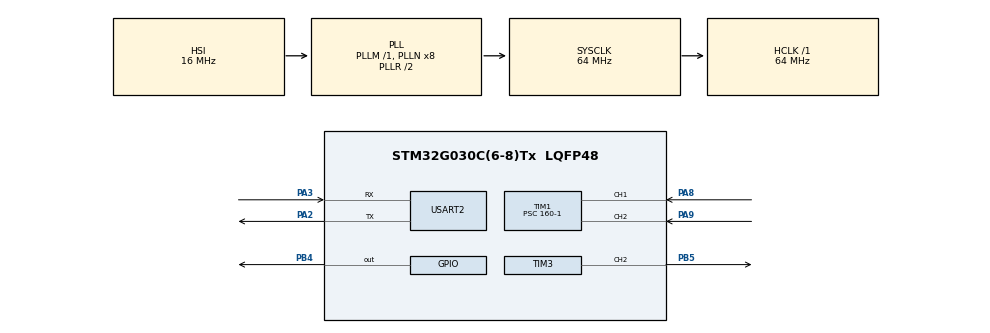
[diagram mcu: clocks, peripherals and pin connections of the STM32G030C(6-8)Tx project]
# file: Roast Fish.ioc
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Mcu.Family=STM32G0
Mcu.Name=STM32G030C(6-8)Tx
Mcu.Package=LQFP48
NVIC.TIM14_IRQn=true\:0\:0\:false\:false\:true\:true\:false
NVIC.TIM16_IRQn=true\:0\:0\:false\:false\:true\:true\:false
NVIC.TIM17_IRQn=true\:1\:0\:true\:false\:true\:true\:false
NVIC.TIM1_CC_IRQn=true\:0\:0\:false\:false\:true\:true\:false
PA13.Mode=Serial_Wire
PA13.Signal=SYS_SWDIO
PA14-BOOT0.Mode=Serial_Wire
PA14-BOOT0.Signal=SYS_SWCLK
PA2.Mode=Asynchronous
PA2.Signal=USART2_TX
PA3.Mode=Asynchronous
PA3.Signal=USART2_RX
PA8.Signal=S_TIM1_CH1
PA9.GPIO_PuPd=GPIO_PULLUP
PA9.Signal=S_TIM1_CH2
PB4.Signal=GPIO_Output
PB5.Signal=S_TIM3_CH2
PF0-OSC_IN\ (PF0).Mode=HSE-External-Oscillator
PF0-OSC_IN\ (PF0).Signal=RCC_OSC_IN
PF1-OSC_OUT\ (PF1).Mode=HSE-External-Oscillator
PF1-OSC_OUT\ (PF1).Signal=RCC_OSC_OUT
ProjectManager.HeapSize=0x200
ProjectManager.StackSize=0x400
ProjectManager.TargetToolchain=MDK-ARM V5.27
RCC.ADCFreq_Value=64000000
RCC.AHBFreq_Value=64000000
RCC.CortexFreq_Value=64000000
RCC.EXTERNAL_CLOCK_VALUE=12288000
RCC.HCLKFreq_Value=64000000
RCC.HSE_VALUE=8000000
RCC.HSI_VALUE=16000000
RCC.LSE_VALUE=32768
RCC.SYSCLKFreq_VALUE=64000000
RCC.SYSCLKSource=RCC_SYSCLKSOURCE_PLLCLK
RCC.VCOOutputFreq_Value=128000000
RTC.Alarm-Alarm\ A=RTC_ALARM_A
RTC.Format=RTC_FORMAT_BIN
RTC.Hours=12
SH.S_TIM1_CH1.0=TIM1_CH1,Input_Capture1_from_TI1
SH.S_TIM1_CH2.0=TIM1_CH2,Input_Capture2_from_TI2
SH.S_TIM3_CH2.0=TIM3_CH2,PWM Generation2 CH2
TIM1.Channel-Input_Capture1_from_TI1=TIM_CHANNEL_1
TIM1.Channel-Input_Capture2_from_TI2=TIM_CHANNEL_2
TIM1.ICFilter_CH1=4
TIM1.ICFilter_CH2=4
TIM1.Prescaler=160-1
TIM14.Channel=TIM_CHANNEL_1
TIM14.Period=64000-1
TIM14.Prescaler=10-1
TIM16.Period=10000-1
TIM16.Prescaler=64-1
TIM17.Period=1000-1
TIM17.Prescaler=64-1
TIM3.Channel-PWM\ Generation2\ CH2=TIM_CHANNEL_2
TIM3.OCPolarity_2=TIM_OCPOLARITY_LOW
TIM3.Period=640-100
TIM3.Prescaler=1-1
TIM3.Pulse-PWM\ Generation2\ CH2=1
TIM3.TIM_MasterOutputTrigger=TIM_TRGO_RESET
USART2.VirtualMode-Asynchronous=VM_ASYNC
VP_CRC_VS_CRC.Mode=CRC_Activate
VP_RTC_VS_RTC_Activate.Mode=RTC_Enabled
VP_RTC_VS_RTC_Alarm_A_Intern.Mode=Alarm A
VP_RTC_VS_RTC_Calendar.Mode=RTC_Calendar
VP_TIM14_VS_ClockSourceINT.Mode=Enable_Timer
VP_TIM14_VS_no_output1.Mode=PWM Generation1 No Output
VP_TIM16_VS_ClockSourceINT.Mode=Enable_Timer
VP_TIM17_VS_ClockSourceINT.Mode=Enable_Timer
VP_TIM1_VS_ClockSourceINT.Mode=Internal
VP_TIM3_VS_ClockSourceINT.Mode=Internal
VP_TIM3_VS_OPM.Mode=OPM_bit
board=custom

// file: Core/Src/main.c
/* USER CODE BEGIN Header */
/**
 ******************************************************************************
 * @file           : main.c
 * @brief          : Main program body
 ******************************************************************************
 * @attention
 *
 * <h2><center>&copy; Copyright (c) 2022 STMicroelectronics.
 * All rights reserved.</center></h2>
 *
 * This software component is licensed by ST under BSD 3-Clause license,
 * the "License"; You may not use this file except in compliance with the
 * License. You may obtain a copy of the License at:
 *                        opensource.org/licenses/BSD-3-Clause
 *
 ******************************************************************************
 */
/* USER CODE END Header */
#include "main.h"
#include "crc.h"
#include "rtc.h"
#include "tim.h"
#include "usart.h"
#include "gpio.h"

/* USER CODE BEGIN Includes */
#include "Sys.h"
#include "UI.h"
#include "Key.h"
#include "Keydef.h"
#include "Counter.h"
#include <stdio.h>
#include "TimeSetting.h"
#include "LED.h"
#include "Optocoupler.h"
#include "Relay.h"
#include "RTCLib.h"
/* USER CODE END Includes */

void SystemClock_Config(void);
/* USER CODE BEGIN PFP */
//当前UI的设计模式一部分是UI更新值到设备，另�??部分是不断更新sysState的�?�到UI设备
/* USER CODE END PFP */

/* USER CODE BEGIN 0 */
void User_KeyInit()
{
  // only one key examle,read pin pullup,and key com pin connect to GND
  KeyPin_t keyinpins[4] = {{GPIOA, GPIO_PIN_0}, {GPIOA, GPIO_PIN_1}, {GPIOA, GPIO_PIN_2}, {GPIOA, GPIO_PIN_3}};
  KeyPin_t keysetpins[4] = {{GPIOA, GPIO_PIN_4}, {GPIOA, GPIO_PIN_5}, {GPIOA, GPIO_PIN_6}, {GPIOA, GPIO_PIN_7}};
  KeyInit(4, 4, keyinpins, keysetpins);
};

Counter key_calitime_cnt = {.count_max = 2, .count_min = 0, .count = 0, .step = 1};
Counter key_mode_cnt = {.count_max = 2, .count_min = 0, .count = 0, .step = 1};

Counter key_fodder_cnt = {.count_max = MAX_FODDER, .count_min = MIN_FODDER, .count = 1, .step = 1};
Counter key_interval_cnt = {.count_max = MAX_INTERVAL, .count_min = MIN_INTERVAL, .count = 1, .step = 1};
Counter key_output_cnt = {.count_max = MAX_OUTPOUT, .count_min = MIN_OUTPOUT, .count = 1, .step = 1};
Counter key_area_cnt = {.count_max = MAX_AREA, .count_min = MIN_AREA, .count = 1, .step = 1};

Counter key_run_time_set_cnt = {.count_max = 120, .count_min = 5, .count = 5, .step = 5};

Counter key_period_cnt = {.count_max = 8 * 2, .count_min = 0, .count = 0, .step = 1};
Counter set_rtc_cnt = {.count_max = 400, .count_min = 0, .count = 0, .step = 1};

Counter vibrator_interval_time_cnt = {0};
Counter vibrator_running_time_cnt = {0};

void onKeyMinuteDown()
{
  sysState.runState = SYS_STOP;
  if (sysState.mode == MOD_TIMING)
  {
    Counter_increment_circle(&key_run_time_set_cnt);
    sysState.run_time_set_value = CounterGET(&key_run_time_set_cnt);
  }
  else
  {
    switch (timeSettingMode)
    {
    case SET_INVALID:
      break;
    case SET_RTC_TIME:
      RTC_Time_Minute_Increament(&stimestructureget);
      Counter_reset(&set_rtc_cnt);
      Lcd_Clock_Show(stimestructureget.Hours, stimestructureget.Minutes);
      if (HAL_RTC_SetTime(&hrtc, &stimestructureget, RTC_DATA_FORMAT) != HAL_OK)
      {
        Error_Handler();
      }
      break;
    case SET_PERIOD_START:
    {
      SysPeriodNode *pSysNode = &sysState.period[CounterGET(&key_period_cnt) / 2 + CounterGET(&key_period_cnt) % 2 - 1];
      RTC_Time_Minute_Increament(&pSysNode->start);
      if (!pSysNode->isOpen)
      {
        pSysNode->isOpen = true;
      }
      globalSettingTimeObj = pSysNode->start;
      Lcd_Clock_Show(globalSettingTimeObj.Hours, globalSettingTimeObj.Minutes);
      UI_SendMessage(SET_CLOCK_SHOW_GLOBAL_SETTING_TIME, NULL);
    }
    break;
    case SET_PERIOD_END:
    {
      SysPeriodNode *pSysNode = &sysState.period[CounterGET(&key_period_cnt) / 2 + CounterGET(&key_period_cnt) % 2 - 1];
      if (!pSysNode->isOpen)
      {
        pSysNode->isOpen = true;
      }
      RTC_Time_Minute_Increament(&pSysNode->end);
      globalSettingTimeObj = pSysNode->end;
      Lcd_Clock_Show(globalSettingTimeObj.Hours, globalSettingTimeObj.Minutes);
      UI_SendMessage(SET_CLOCK_SHOW_GLOBAL_SETTING_TIME, NULL);
    }
    break;

    default:
      break;
    }
  }
}

void onKeyHourDown()
{
  sysState.runState = SYS_STOP;

  switch (timeSettingMode)
  {
  case SET_INVALID:
    break;
  case SET_RTC_TIME:
    RTC_Time_Hour_Increament(&stimestructureget);
    Counter_reset(&set_rtc_cnt);
    Lcd_Clock_Show(stimestructureget.Hours, stimestructureget.Minutes);
    if (HAL_RTC_SetTime(&hrtc, &stimestructureget, RTC_DATA_FORMAT) != HAL_OK)
    {
      Error_Handler();
    }
    break;
  case SET_PERIOD_START:
  {
    SysPeriodNode *pSysNode = &sysState.period[CounterGET(&key_period_cnt) / 2 + CounterGET(&key_period_cnt) % 2 - 1];
    RTC_Time_Hour_Increament(&pSysNode->start);
    if (!pSysNode->isOpen)
    {
      pSysNode->isOpen = true;
    }
    globalSettingTimeObj = pSysNode->start;
    Lcd_Clock_Show(globalSettingTimeObj.Hours, globalSettingTimeObj.Minutes);
    UI_SendMessage(SET_CLOCK_SHOW_GLOBAL_SETTING_TIME, NULL);
  }
  break;
  case SET_PERIOD_END:
  {
    SysPeriodNode *pSysNode = &sysState.period[CounterGET(&key_period_cnt) / 2 + CounterGET(&key_period_cnt) % 2 - 1];
    if (!pSysNode->isOpen)
    {
      pSysNode->isOpen = true;
    }
    RTC_Time_Hour_Increament(&pSysNode->end);
    globalSettingTimeObj = pSysNode->end;
    Lcd_Clock_Show(globalSettingTimeObj.Hours, globalSettingTimeObj.Minutes);
    UI_SendMessage(SET_CLOCK_SHOW_GLOBAL_SETTING_TIME, NULL);
  }
  break;

  default:
    break;
  }
}

void KeyDriver()
{
  static KeyState_t key = KEY_NONE;

  if (!isKeyFIFOEmpty())
  {
    key = Key_FIFO_Get();

    switch (key)
    {

    case KEY_FODDDER_P_Down:
      Counter_increment(&key_fodder_cnt);
      sysState.fodder_num = CounterGET(&key_fodder_cnt);
      Counter_init(&vibrator_running_time_cnt, GET_FODDER_TIME(sysState.fodder_num),0, 1);
      break;
    case KEY_FODDDER_P_LongPress:
      Counter_increment(&key_fodder_cnt);
      sysState.fodder_num = CounterGET(&key_fodder_cnt);
     Counter_init(&vibrator_running_time_cnt, GET_FODDER_TIME(sysState.fodder_num),0, 1);
      break;
    case KEY_FODDDER_N_Down:
      Counter_decrement(&key_fodder_cnt);
      sysState.fodder_num = CounterGET(&key_fodder_cnt);
      Counter_init(&vibrator_running_time_cnt, GET_FODDER_TIME(sysState.fodder_num),0, 1);
      break;
    case KEY_FODDDER_N_LongPress:
      Counter_decrement(&key_fodder_cnt);
      sysState.fodder_num = CounterGET(&key_fodder_cnt);
      Counter_init(&vibrator_running_time_cnt, GET_FODDER_TIME(sysState.fodder_num),0, 1);
      break;
    case KEY_INTERVAL_P_Down:
      Counter_increment(&key_interval_cnt);
      sysState.interval_num = CounterGET(&key_interval_cnt);
      Counter_init(&vibrator_interval_time_cnt, GET_FODDER_TIME(sysState.interval_num),0, 1);
      break;
    case KEY_INTERVAL_P_LongPress:
      Counter_increment(&key_interval_cnt);
      sysState.interval_num = CounterGET(&key_interval_cnt);
      Counter_init(&vibrator_interval_time_cnt, GET_FODDER_TIME(sysState.interval_num),0, 1);
      break;
    case KEY_INTERVAL_N_Down:
      Counter_decrement(&key_interval_cnt);
      sysState.interval_num = CounterGET(&key_interval_cnt);
      Counter_init(&vibrator_interval_time_cnt, GET_FODDER_TIME(sysState.interval_num),0, 1);
      break;
    case KEY_INTERVAL_N_LongPress:
      Counter_decrement(&key_interval_cnt);
      sysState.interval_num = CounterGET(&key_interval_cnt);
      Counter_init(&vibrator_interval_time_cnt, GET_FODDER_TIME(sysState.interval_num),0, 1);
      break;
    case KEY_OUTPUT_P_Down:
      Counter_increment(&key_output_cnt);
      sysState.output_num = CounterGET(&key_output_cnt);
      break;
    case KEY_OUTPUT_P_LongPress:
      Counter_increment(&key_output_cnt);
      sysState.output_num = CounterGET(&key_output_cnt);
      break;
    case KEY_OUTPUT_N_Down:
      Counter_decrement(&key_output_cnt);
      sysState.output_num = CounterGET(&key_output_cnt);
      break;
    case KEY_OUTPUT_N_LongPress:
      Counter_decrement(&key_output_cnt);
      sysState.output_num = CounterGET(&key_output_cnt);
      break;
    case KEY_AREA_P_Down:
      Counter_increment(&key_area_cnt);
      sysState.area_num = CounterGET(&key_area_cnt);
      break;
    case KEY_AREA_P_LongPress:
      Counter_increment(&key_area_cnt);
      sysState.area_num = CounterGET(&key_area_cnt);
      break;
    case KEY_AREA_N_Down:
      Counter_decrement(&key_area_cnt);
      sysState.area_num = CounterGET(&key_area_cnt);
      break;
    case KEY_AREA_N_LongPress:
      Counter_decrement(&key_area_cnt);
      sysState.area_num = CounterGET(&key_area_cnt);
      break;

    case KEY_OFF_Down:
      sysState.runState = SYS_STOP;
      break;
    case KEY_ON_Down:
      sysState.runState = SYS_RUN;
      sysState.run_time = sysState.run_time_set_value;
      break;
    case KEY_MODE_Down:
      Counter_increment_circle(&key_mode_cnt);
      sysState.mode = CounterGET(&key_mode_cnt);
      sysState.runState = SYS_STOP;
      __TDOT_TEXT_Off(); // Elimination of residual display
      Counter_reset(&key_period_cnt);
      timeSettingMode = SET_INVALID;
      break;

    case KEY_MINUTE_Down:
      onKeyMinuteDown();

      break;
    case KEY_MINUTE_LongPress:
      onKeyMinuteDown();
      break;
    case KEY_HOUR_Down:
      onKeyHourDown();
      break;
    case KEY_HOUR_LongPress:
      onKeyHourDown();
      break;

    case KEY_PERIOD_Down:
      sysState.runState = SYS_STOP;
      if (sysState.mode == MOD_NORMAL_AOTO)
      {
        Counter_increment_circle(&key_period_cnt);
        if (CounterGET(&key_period_cnt) == 0)
        {
          UI_SendMessage(SET_CLOCK_NORMAL_SHOW, NULL);
          break;
        }
        SysPeriodNode *pSysNode = &sysState.period[CounterGET(&key_period_cnt) / 2 + CounterGET(&key_period_cnt) % 2 - 1];

        if (IS_ODD(CounterGET(&key_period_cnt)))
        {
          __CLOSE_TEXT_Off(); // Elimination of residual display
          __OPEN_TEXT_On();   // Elimination of residual display
          // 1,2->0
          // 3,4->1
          timeSettingMode = SET_PERIOD_START;
          if (pSysNode->isOpen)
          {
            globalSettingTimeObj = pSysNode->start;
            UI_SendMessage(SET_CLOCK_SHOW_GLOBAL_SETTING_TIME, NULL);
          }
          else
          {
            UI_SendMessage(SET_CLOCK_SHOW_NONE, NULL);
          }
        }
        else
        {
          __OPEN_TEXT_Off(); // Elimination of residual display
          __CLOSE_TEXT_On(); // Elimination of residual display

          // 1,2->0
          // 3,4->1
          timeSettingMode = SET_PERIOD_END;
          if (pSysNode->isOpen)
          {
            globalSettingTimeObj = pSysNode->end;
            UI_SendMessage(SET_CLOCK_SHOW_GLOBAL_SETTING_TIME, NULL);
          }
          else
          {
            UI_SendMessage(SET_CLOCK_SHOW_NONE, NULL);
          }
        }
      }

      break;

    case KEY_CaliTime_Down:
      if (sysState.mode == MOD_NORMAL_OPEN)
      {
        timeSettingMode = SET_RTC_TIME;
      }
      break;
    case KEY_CANCEL_Down:
      if (sysState.mode == MOD_TIMING)
      {
        Counter_increment_circle(&key_run_time_set_cnt);
        sysState.run_time_set_value = CounterGET(&key_run_time_set_cnt);
      }
      else if (sysState.mode == MOD_NORMAL_AOTO)
      {
        switch (timeSettingMode)
        {
        case SET_INVALID:
          break;
        case SET_RTC_TIME:
          break;
        case SET_PERIOD_START:
        {
          SysPeriodNode *pSysNode = &sysState.period[CounterGET(&key_period_cnt) / 2 + CounterGET(&key_period_cnt) % 2 - 1];
          RTC_Time_Minute_Increament(&pSysNode->start);
          pSysNode->isOpen = false;
          RTC_Time_ResetHMS(&pSysNode->start);
          UI_SendMessage(SET_CLOCK_SHOW_NONE, NULL);
        }
        break;
        case SET_PERIOD_END:
        {
          SysPeriodNode *pSysNode = &sysState.period[CounterGET(&key_period_cnt) / 2 + CounterGET(&key_period_cnt) % 2 - 1];
          RTC_Time_Minute_Increament(&pSysNode->start);
          pSysNode->isOpen = false;
          RTC_Time_ResetHMS(&pSysNode->end);
          UI_SendMessage(SET_CLOCK_SHOW_NONE, NULL);
        }
        break;

        default:
          break;
        }
      }
      break;

    default:
      break;
    }
  }
}

void Update_SyaState_2_Counter(){
Counter_set_cnt(&key_fodder_cnt,sysState.fodder_num);
Counter_set_cnt(&key_interval_cnt,sysState.interval_num);
Counter_set_cnt(&key_output_cnt,sysState.output_num);
Counter_set_cnt(&key_area_cnt,sysState.area_num);
Counter_init(&vibrator_interval_time_cnt, GET_FODDER_TIME(sysState.fodder_num),0, 1);
Counter_init(&vibrator_running_time_cnt, GET_FODDER_TIME(sysState.fodder_num),0, 1);
}

void oneMilliSecCallback()
{
  KeyScan();
  Sys_Running_Scan();
  UI_Scan();
  KeyDriver();
}
/* USER CODE END 0 */

int main(void)

{

  /* MCU Configuration--------------------------------------------------------*/

  /* Reset of all peripherals, Initializes the Flash interface and the Systick. */
  HAL_Init();

  /* Configure the system clock */
  SystemClock_Config();

  /* Initialize all configured peripherals */
  MX_GPIO_Init();
  MX_RTC_Init();
  MX_TIM1_Init();
  MX_TIM3_Init();
  MX_USART2_UART_Init();
  MX_TIM14_Init();
  MX_TIM16_Init();
  MX_TIM17_Init();
  MX_CRC_Init();
  /* USER CODE BEGIN 2 */
  reloadSysStateFromFlash();
  Update_SyaState_2_Counter();
  LED_Init();
  Relay_Init();
  RELAY_ON();
  Optocoupler_Init();
  UI_Init();
  User_KeyInit();
  UserPIDInit();
  HAL_TIM_IC_Start_IT(&htim1, TIM_CHANNEL_1);
  HAL_TIM_IC_Start_IT(&htim1, TIM_CHANNEL_2);
  HAL_TIM_PWM_Stop_IT(&htim14, TIM_CHANNEL_1);

	HAL_TIM_Base_Start_IT(&htim17);
	HAL_TIM_Base_Start_IT(&htim16);
  //HAL_TIM_Base_Start_IT(&htim17);
  /* USER CODE END 2 */

  /* Infinite loop */
  while (1)
  {

    /* USER CODE BEGIN 3 */

    HAL_Delay(0);
  }
  /* USER CODE END 3 */
}

void SystemClock_Config(void)
{
  RCC_OscInitTypeDef RCC_OscInitStruct = {0};
  RCC_ClkInitTypeDef RCC_ClkInitStruct = {0};
  RCC_PeriphCLKInitTypeDef PeriphClkInit = {0};

  /** Configure the main internal regulator output voltage
  */
  HAL_PWREx_ControlVoltageScaling(PWR_REGULATOR_VOLTAGE_SCALE1);
  /** Initializes the RCC Oscillators according to the specified parameters
  * in the RCC_OscInitTypeDef structure.
  */
  RCC_OscInitStruct.OscillatorType = RCC_OSCILLATORTYPE_HSI|RCC_OSCILLATORTYPE_LSI;
  RCC_OscInitStruct.HSIState = RCC_HSI_ON;
  RCC_OscInitStruct.HSIDiv = RCC_HSI_DIV1;
  RCC_OscInitStruct.HSICalibrationValue = RCC_HSICALIBRATION_DEFAULT;
  RCC_OscInitStruct.LSIState = RCC_LSI_ON;
  RCC_OscInitStruct.PLL.PLLState = RCC_PLL_ON;
  RCC_OscInitStruct.PLL.PLLSource = RCC_PLLSOURCE_HSI;
  RCC_OscInitStruct.PLL.PLLM = RCC_PLLM_DIV1;
  RCC_OscInitStruct.PLL.PLLN = 8;
  RCC_OscInitStruct.PLL.PLLP = RCC_PLLP_DIV2;
  RCC_OscInitStruct.PLL.PLLR = RCC_PLLR_DIV2;
  if (HAL_RCC_OscConfig(&RCC_OscInitStruct) != HAL_OK)
  {
    Error_Handler();
  }
  /** Initializes the CPU, AHB and APB buses clocks
  */
  RCC_ClkInitStruct.ClockType = RCC_CLOCKTYPE_HCLK|RCC_CLOCKTYPE_SYSCLK
                              |RCC_CLOCKTYPE_PCLK1;
  RCC_ClkInitStruct.SYSCLKSource = RCC_SYSCLKSOURCE_PLLCLK;
  RCC_ClkInitStruct.AHBCLKDivider = RCC_SYSCLK_DIV1;
  RCC_ClkInitStruct.APB1CLKDivider = RCC_HCLK_DIV1;

  if (HAL_RCC_ClockConfig(&RCC_ClkInitStruct, FLASH_LATENCY_2) != HAL_OK)
  {
    Error_Handler();
  }
  /** Initializes the peripherals clocks
  */
  PeriphClkInit.PeriphClockSelection = RCC_PERIPHCLK_RTC;
  PeriphClkInit.RTCClockSelection = RCC_RTCCLKSOURCE_LSI;

  if (HAL_RCCEx_PeriphCLKConfig(&PeriphClkInit) != HAL_OK)
  {
    Error_Handler();
  }
}

void Error_Handler(void)
{
  __disable_irq();
  while (1)
  {
  }
}

/************************ (C) COPYRIGHT STMicroelectronics *****END OF FILE****/
